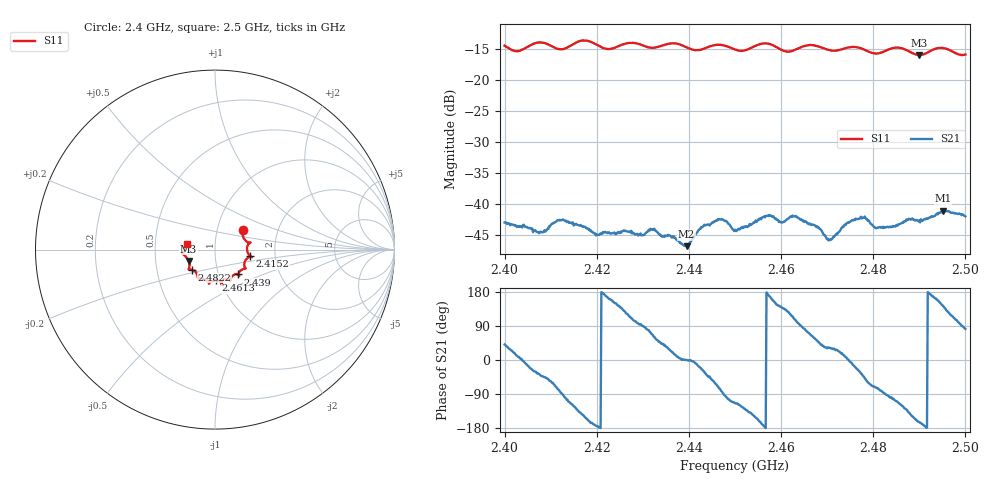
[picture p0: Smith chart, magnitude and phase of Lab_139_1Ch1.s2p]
# Hz S RI R 50
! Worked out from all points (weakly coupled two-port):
!   601 points, 2.4 GHz to 2.5 GHz, reference 50 ohm
!   highest |S21| = -41.02 dB at 2.4952 GHz (marker M1); lowest = -46.7 dB at 2.4395 GHz (marker M2)
!   lowest |S11| = -15.9 dB at 2.49 GHz (marker M3), VSWR 1.38, Z = 36.9 - j4.84 ohm
!   |S11| at or under -10 dB: start of sweep to end of sweep
!   S12 and S22 are empty: the file has one direction only
!   S11 on the Smith chart (normalised r, x): 2.4 GHz: 1.33, +0.31; 2.4152 GHz: 1.48, -0.11; 2.439 GHz: 1.24, -0.36; 2.4613 GHz: 0.96, -0.34; 2.4822 GHz: 0.76, -0.17; 2.5 GHz: 0.73, +0.05
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2.4e9  0.1547 0.1115  0.00541 0.00467  0 0  0 0
2.402833e9  0.1594 0.0653  0.00659 0.00108  0 0  0 0
2.407833e9  0.1983 0.0401  0.00457 -0.00395  0 0  0 0
2.411833e9  0.1783 0.00908  0.00125 -0.00734  0 0  0 0
2.415167e9  0.1954 -0.0365  -0.00376 -0.00578  0 0  0 0
2.416667e9  0.2048 -0.0427  -0.00529 -0.00416  0 0  0 0
2.420167e9  0.1877 -0.0428  -0.00568 -0.000431  0 0  0 0
2.433333e9  0.132 -0.1321  0.00373 0.00451  0 0  0 0
2.439e9  0.1281 -0.1384  0.00463 8.89e-05  0 0  0 0
2.4395e9  0.1242 -0.1371  0.0046 2.99e-05  0 0  0 0
2.446333e9  0.0861 -0.1739  0.00258 -0.00718  0 0  0 0
2.45e9  0.0689 -0.1638  -0.00248 -0.00574  0 0  0 0
2.457167e9  0.0396 -0.1942  -0.00807 0.00104  0 0  0 0
2.461333e9  0.00723 -0.1707  -0.00471 0.00597  0 0  0 0
2.466667e9  -0.0337 -0.1898  0.00305 0.00619  0 0  0 0
2.4705e9  -0.048 -0.1689  0.00437 0.0028  0 0  0 0
2.477667e9  -0.0963 -0.1517  0.00596 -0.00507  0 0  0 0
2.482167e9  -0.128 -0.1119  0.000471 -0.0066  0 0  0 0
2.483333e9  -0.1394 -0.1104  -0.000563 -0.00651  0 0  0 0
2.49e9  -0.147 -0.0639  -0.00712 -0.00205  0 0  0 0
2.495167e9  -0.1814 -0.0206  -0.00702 0.00545  0 0  0 0
2.5e9  -0.1584 0.0335  0.0011 0.00793  0 0  0 0
